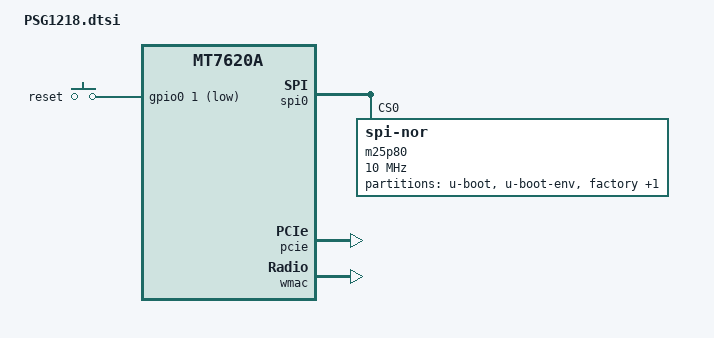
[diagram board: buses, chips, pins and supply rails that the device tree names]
#include "mt7620a.dtsi"

#include <dt-bindings/gpio/gpio.h>
#include <dt-bindings/input/input.h>

/ {
	compatible = "phicomm,psg1218", "ralink,mt7620a-soc";

	gpio-keys-polled {
		compatible = "gpio-keys-polled";
		#address-cells = <1>;
		#size-cells = <0>;
		poll-interval = <20>;

		reset {
			label = "reset";
			gpios = <&gpio0 1 GPIO_ACTIVE_LOW>;
			linux,code = <KEY_RESTART>;
		};
	};
};

&gpio0 {
	status = "okay";
};

&spi0 {
	status = "okay";

	m25p80@0 {
		#address-cells = <1>;
		#size-cells = <1>;
		compatible = "jedec,spi-nor";
		reg = <0>;
		spi-max-frequency = <10000000>;

		partition@0 {
			label = "u-boot";
			reg = <0x0 0x30000>;
			read-only;
		};

		partition@20000 {
			label = "u-boot-env";
			reg = <0x30000 0x10000>;
			read-only;
		};

		factory: partition@30000 {
			label = "factory";
			reg = <0x40000 0x10000>;
			read-only;
		};

		partition@40000 {
			label = "firmware";
			reg = <0x50000 0x7b0000>;
		};
	};
};

&pcie {
	status = "okay";

	pcie-bridge {
		mt76@0,0 {
			reg = <0x0000 0 0 0 0>;
			device_type = "pci";
			mediatek,mtd-eeprom = <&factory 0x8000>;
			ieee80211-freq-limit = <5000000 6000000>;
		};
	};
};

&wmac {
	ralink,mtd-eeprom = <&factory 0>;
};
